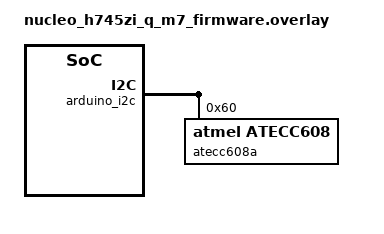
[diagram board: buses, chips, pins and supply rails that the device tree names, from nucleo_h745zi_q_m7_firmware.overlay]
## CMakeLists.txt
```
# @file      CMakeLists.txt
# @brief     mender-stm32h745-zephyr-example CMakeLists file
#
# Copyright joelguittet and mender-mcu-client contributors
#
# Licensed under the Apache License, Version 2.0 (the "License");
# you may not use this file except in compliance with the License.
# You may obtain a copy of the License at
#
#     http://www.apache.org/licenses/LICENSE-2.0
#
# Unless required by applicable law or agreed to in writing, software
# distributed under the License is distributed on an "AS IS" BASIS,
# WITHOUT WARRANTIES OR CONDITIONS OF ANY KIND, either express or implied.
# See the License for the specific language governing permissions and
# limitations under the License.

cmake_minimum_required(VERSION 3.20.0)

# Extra components
list(APPEND ZEPHYR_EXTRA_MODULES
    "${CMAKE_CURRENT_SOURCE_DIR}/components/cJSON"
    "${CMAKE_CURRENT_SOURCE_DIR}/components/msgpack-c"
    "${CMAKE_CURRENT_SOURCE_DIR}/components/cryptoauthlib"
    "${CMAKE_CURRENT_SOURCE_DIR}/components/mender-mcu-client"
)

# Kconfig options
set(KCONFIG_ROOT "${CMAKE_CURRENT_SOURCE_DIR}/Kconfig")

# Device tree overlay file
set(DTC_OVERLAY_FILE "${CMAKE_CURRENT_SOURCE_DIR}/nucleo_h745zi_q_m7_firmware.overlay")

# Declare project
find_package(Zephyr REQUIRED HINTS $ENV{ZEPHYR_BASE})
project(mender-stm32h745-zephyr-example)

# Sources
target_sources(app PRIVATE "src/main.c" "src/mender-storage.c")

# Definitions
target_compile_definitions(app PRIVATE -D_POSIX_C_SOURCE=200809L PROJECT_NAME="mender-stm32h745-zephyr-example")

# Generate Root CA include file
generate_inc_file_for_target(app "src/AmazonRootCA1.cer" "${ZEPHYR_BINARY_DIR}/include/generated/AmazonRootCA1.cer.inc")
```

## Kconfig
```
# @file      Kconfig
# @brief     mender-stm32h745-zephyr-example Kconfig file
#
# Copyright joelguittet and mender-mcu-client contributors
#
# Licensed under the Apache License, Version 2.0 (the "License");
# you may not use this file except in compliance with the License.
# You may obtain a copy of the License at
#
#     http://www.apache.org/licenses/LICENSE-2.0
#
# Unless required by applicable law or agreed to in writing, software
# distributed under the License is distributed on an "AS IS" BASIS,
# WITHOUT WARRANTIES OR CONDITIONS OF ANY KIND, either express or implied.
# See the License for the specific language governing permissions and
# limitations under the License.

mainmenu "Example Configuration"

    config EXAMPLE_AUTHENTICATION_FAILS_MAX_TRIES
        int "Maximum number of retries when Mender client authentification fails"
        default 3
        help
            Defines the number of retries when the Mender client authentification fails before the artifact is considered invalid and the rollback is done.

source "Kconfig.zephyr"
```

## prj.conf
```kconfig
# @file      prj.conf
# @brief     mender-stm32h745-zephyr-example project configuration file
#
# Copyright joelguittet and mender-mcu-client contributors
#
# Licensed under the Apache License, Version 2.0 (the "License");
# you may not use this file except in compliance with the License.
# You may obtain a copy of the License at
#
#     http://www.apache.org/licenses/LICENSE-2.0
#
# Unless required by applicable law or agreed to in writing, software
# distributed under the License is distributed on an "AS IS" BASIS,
# WITHOUT WARRANTIES OR CONDITIONS OF ANY KIND, either express or implied.
# See the License for the specific language governing permissions and
# limitations under the License.

# Mender MCU client
CONFIG_MENDER_MCU_CLIENT=y
CONFIG_MENDER_SERVER_TENANT_TOKEN="<insert your own token here>"
CONFIG_MENDER_CLIENT_ADD_ON_INVENTORY=y
CONFIG_MENDER_CLIENT_ADD_ON_CONFIGURE=y
#CONFIG_MENDER_CLIENT_ADD_ON_TROUBLESHOOT=y
#CONFIG_MENDER_CLIENT_TROUBLESHOOT_SHELL=y
CONFIG_MENDER_PLATFORM_STORAGE_TYPE_WEAK=y
CONFIG_MENDER_PLATFORM_TLS_TYPE_CRYPTOAUTHLIB=y

# Required to get Device Troubleshoot add-on working
#CONFIG_HEAP_MEM_POOL_SIZE=1500
#CONFIG_ZVFS_OPEN_MAX=16
#CONFIG_SHELL_BACKEND_SERIAL=n
#CONFIG_SHELL_AUTOSTART=n
#CONFIG_SHELL_STACK_SIZE=3072

# General
CONFIG_EVENTS=y
CONFIG_MAIN_STACK_SIZE=2048
CONFIG_PICOLIBC=y

# Backup SRAM
CONFIG_STM32_BACKUP_SRAM=y

# Cryptoauthlib
CONFIG_CRYPTOAUTHLIB_HAL_I2C=y
CONFIG_CRYPTOAUTHLIB_ATSHA204A_SUPPORT=n
CONFIG_CRYPTOAUTHLIB_ATSHA206A_SUPPORT=n
CONFIG_CRYPTOAUTHLIB_ATECC108A_SUPPORT=n
CONFIG_CRYPTOAUTHLIB_ATECC508A_SUPPORT=n
CONFIG_CRYPTOAUTHLIB_ATECC608_SUPPORT=y
CONFIG_CRYPTOAUTHLIB_ATECC608A_SUPPORT=y
CONFIG_CRYPTOAUTHLIB_ECC204_SUPPORT=n
CONFIG_CRYPTOAUTHLIB_TA010_SUPPORT=n
CONFIG_CRYPTOAUTHLIB_SHA104_SUPPORT=n
CONFIG_CRYPTOAUTHLIB_SHA105_SUPPORT=n

# Networking
CONFIG_NET_IPV6=n
CONFIG_NET_IPV4=y
CONFIG_NET_DHCPV4=y
CONFIG_NET_SHELL=y
CONFIG_NET_MGMT=y
CONFIG_NET_MGMT_EVENT=y
CONFIG_NET_MGMT_EVENT_STACK_SIZE=2048
CONFIG_NET_SOCKETS_SOCKOPT_TLS=y
CONFIG_NET_SOCKETS_TLS_MAX_CONTEXTS=8
CONFIG_NET_SOCKETS_CONNECT_TIMEOUT=30000
CONFIG_NET_MAX_CONN=16

# DNS
CONFIG_DNS_RESOLVER_ADDITIONAL_BUF_CTR=5
CONFIG_DNS_RESOLVER_ADDITIONAL_QUERIES=2
CONFIG_DNS_RESOLVER_MAX_SERVERS=2
CONFIG_DNS_NUM_CONCUR_QUERIES=5

# mbedTLS
CONFIG_MBEDTLS=y
CONFIG_MBEDTLS_BUILTIN=y
CONFIG_MBEDTLS_ENABLE_HEAP=y
CONFIG_MBEDTLS_HEAP_SIZE=100000
CONFIG_MBEDTLS_CFG_FILE="config-tls-generic.h"
CONFIG_MBEDTLS_ECDH_C=y
CONFIG_MBEDTLS_ECDSA_C=y
CONFIG_MBEDTLS_ECP_C=y
CONFIG_MBEDTLS_ECP_DP_SECP256R1_ENABLED=y
CONFIG_MBEDTLS_GENPRIME_ENABLED=y
CONFIG_MBEDTLS_CIPHER_AES_ENABLED=y
CONFIG_MBEDTLS_CIPHER_CCM_ENABLED=y
CONFIG_MBEDTLS_CIPHER_GCM_ENABLED=y
CONFIG_MBEDTLS_KEY_EXCHANGE_ECDHE_PSK_ENABLED=y
CONFIG_MBEDTLS_KEY_EXCHANGE_ECDHE_RSA_ENABLED=y
CONFIG_MBEDTLS_KEY_EXCHANGE_ECDHE_ECDSA_ENABLED=y
CONFIG_MBEDTLS_KEY_EXCHANGE_RSA_ENABLED=y
CONFIG_MBEDTLS_PEM_CERTIFICATE_FORMAT=y
CONFIG_MBEDTLS_PK_WRITE_C=y
CONFIG_MBEDTLS_ZEPHYR_ENTROPY=y
CONFIG_MBEDTLS_SSL_MAX_CONTENT_LEN=16384
CONFIG_MBEDTLS_SERVER_NAME_INDICATION=y

# MCUboot
CONFIG_MCUBOOT_SIGNATURE_KEY_FILE="bootloader/mcuboot/root-rsa-2048.pem"

# Logging
CONFIG_LOG=y
CONFIG_LOG_MODE_IMMEDIATE=y
```

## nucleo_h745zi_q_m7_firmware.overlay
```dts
/**
 * @file      nucleo_h745zi_q_m7_firmware.overlay
 * @brief     Nucleo STM32H745 firmware overlay
 *
 * Copyright joelguittet and mender-mcu-client contributors
 *
 * Licensed under the Apache License, Version 2.0 (the "License");
 * you may not use this file except in compliance with the License.
 * You may obtain a copy of the License at
 *
 *     http://www.apache.org/licenses/LICENSE-2.0
 *
 * Unless required by applicable law or agreed to in writing, software
 * distributed under the License is distributed on an "AS IS" BASIS,
 * WITHOUT WARRANTIES OR CONDITIONS OF ANY KIND, either express or implied.
 * See the License for the specific language governing permissions and
 * limitations under the License.
 */

#include "nucleo_h745zi_q_m7_flash0.dtsi"

/ {
    chosen {
        zephyr,code-partition = &slot0_partition;
    };
};

&arduino_i2c {
    status = "okay";

    /* ATECC608A */
    atecc608a@60 {
        compatible = "atmel,atecc608";
        reg = <0x60>;
    };
};
		
&backup_sram{
    status = "okay";
};
```

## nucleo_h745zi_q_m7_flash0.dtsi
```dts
/**
 * @file      nucleo_h745zi_q_m7_flash0.dtsi
 * @brief     Nucleo STM32H745 flash0 overlay include
 *
 * Copyright joelguittet and mender-mcu-client contributors
 *
 * Licensed under the Apache License, Version 2.0 (the "License");
 * you may not use this file except in compliance with the License.
 * You may obtain a copy of the License at
 *
 *     http://www.apache.org/licenses/LICENSE-2.0
 *
 * Unless required by applicable law or agreed to in writing, software
 * distributed under the License is distributed on an "AS IS" BASIS,
 * WITHOUT WARRANTIES OR CONDITIONS OF ANY KIND, either express or implied.
 * See the License for the specific language governing permissions and
 * limitations under the License.
 */

&flash0 {
    partitions {
        compatible = "fixed-partitions";
        #address-cells = <1>;
        #size-cells = <1>;
        /* Bootloader slot: 128KB */
        boot_partition: partition@0 {
            label = "mcuboot";
            reg = <0x00000000 DT_SIZE_K(128)>;
            read-only;
        };
        /* Application slot: 384KB */
        slot0_partition: partition@20000 {
            label = "image-0";
            reg = <0x00020000 DT_SIZE_K(384)>;
        };
        /* Update slot: 384KB */
        slot1_partition: partition@80000 {
            label = "image-1";
            reg = <0x00080000 DT_SIZE_K(384)>;
        };
        /* Scratch slot: 128KB */
        scratch_partition: partition@e0000 {
            label = "image-scratch";
            reg = <0x000E0000 DT_SIZE_K(128)>;
        };
    };
};
```

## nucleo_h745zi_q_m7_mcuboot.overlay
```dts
/**
 * @file      nucleo_h745zi_q_m7_mcuboot.overlay
 * @brief     Nucleo STM32H745 mcuboot overlay
 *
 * Copyright joelguittet and mender-mcu-client contributors
 *
 * Licensed under the Apache License, Version 2.0 (the "License");
 * you may not use this file except in compliance with the License.
 * You may obtain a copy of the License at
 *
 *     http://www.apache.org/licenses/LICENSE-2.0
 *
 * Unless required by applicable law or agreed to in writing, software
 * distributed under the License is distributed on an "AS IS" BASIS,
 * WITHOUT WARRANTIES OR CONDITIONS OF ANY KIND, either express or implied.
 * See the License for the specific language governing permissions and
 * limitations under the License.
 */

#include "nucleo_h745zi_q_m7_flash0.dtsi"

/ {
    chosen {
        zephyr,code-partition = &boot_partition;
    };
};
```

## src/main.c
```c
/**
 * @file      main.c
 * @brief     Main entry point
 *
 * Copyright joelguittet and mender-mcu-client contributors
 *
 * Licensed under the Apache License, Version 2.0 (the "License");
 * you may not use this file except in compliance with the License.
 * You may obtain a copy of the License at
 *
 *     http://www.apache.org/licenses/LICENSE-2.0
 *
 * Unless required by applicable law or agreed to in writing, software
 * distributed under the License is distributed on an "AS IS" BASIS,
 * WITHOUT WARRANTIES OR CONDITIONS OF ANY KIND, either express or implied.
 * See the License for the specific language governing permissions and
 * limitations under the License.
 */

#include <app_version.h>
#include <version.h>

#include <zephyr/logging/log.h>
LOG_MODULE_REGISTER(mender_stm32h745_zephyr_example, LOG_LEVEL_INF);

#include <zephyr/kernel.h>
#include <zephyr/net/net_if.h>
#include <zephyr/net/net_mgmt.h>
#include <zephyr/sys/reboot.h>

/*
 * Amazon Root CA 1 certificate, retrieved from https://www.amazontrust.com/repository in DER format.
 * It is converted to include file in application CMakeLists.txt.
 */
#if defined(CONFIG_NET_SOCKETS_SOCKOPT_TLS)
#include <zephyr/net/tls_credentials.h>
#if defined(CONFIG_TLS_CREDENTIAL_FILENAMES)
static const unsigned char ca_certificate[] = "AmazonRootCA1.cer";
#else
static const unsigned char ca_certificate[] = {
#include "AmazonRootCA1.cer.inc"
};
#endif
#endif

#ifdef CONFIG_MENDER_PLATFORM_TLS_TYPE_CRYPTOAUTHLIB
#include <cryptoauthlib.h>
#endif /* CONFIG_MENDER_PLATFORM_TLS_TYPE_CRYPTOAUTHLIB */

#include "mender-client.h"
#include "mender-configure.h"
#include "mender-flash.h"
#include "mender-inventory.h"
#include "mender-shell.h"
#include "mender-troubleshoot.h"

/**
 * @brief Mender client events
 */
static K_EVENT_DEFINE(mender_client_events);
#define MENDER_CLIENT_EVENT_NETWORK_UP (1 << 0)
#define MENDER_CLIENT_EVENT_RESTART    (1 << 1)

/**
 * @brief Network management callback
 */
static struct net_mgmt_event_callback mgmt_cb;

/**
 * @brief print DHCPv4 address information
 * @param iface Interface
 * @param if_addr Interface address
 * @param user_data user data (not used)
 */
static void
print_dhcpv4_addr(struct net_if *iface, struct net_if_addr *if_addr, void *user_data) {

    char           hr_addr[NET_IPV4_ADDR_LEN];
    struct in_addr netmask;

    /* Check address type */
    if (NET_ADDR_DHCP != if_addr->addr_type) {
        return;
    }

    LOG_INF("IPv4 address: %s", net_addr_ntop(AF_INET, &if_addr->address.in_addr, hr_addr, NET_IPV4_ADDR_LEN));
    LOG_INF("Lease time: %u seconds", iface->config.dhcpv4.lease_time);
    netmask = net_if_ipv4_get_netmask_by_addr(iface, &if_addr->address.in_addr);
    LOG_INF("Subnet: %s", net_addr_ntop(AF_INET, &netmask, hr_addr, NET_IPV4_ADDR_LEN));
    LOG_INF("Router: %s", net_addr_ntop(AF_INET, &iface->config.ip.ipv4->gw, hr_addr, NET_IPV4_ADDR_LEN));
}

/**
 * @brief Network event handler
 * @param cb Network management callback
 * @param mgmt_event Event
 * @param iface Interface
 */
static void
net_event_handler(struct net_mgmt_event_callback *cb, uint32_t mgmt_event, struct net_if *iface) {

    /* Check event */
    if (NET_EVENT_IPV4_ADDR_ADD != mgmt_event) {
        return;
    }

    /* Print interface information */
    net_if_ipv4_addr_foreach(iface, print_dhcpv4_addr, NULL);

    /* Indicate the network is available */
    k_event_post(&mender_client_events, MENDER_CLIENT_EVENT_NETWORK_UP);
}

/**
 * @brief Network connnect callback
 * @return MENDER_OK if network is connected following the request, error code otherwise
 */
static mender_err_t
network_connect_cb(void) {

    LOG_INF("Mender client connect network");

    /* This callback can be used to configure network connection */
    /* Note that the application can connect the network before if required */
    /* This callback only indicates the mender-client requests network access now */
    /* Nothing to do in this example application just return network is available */
    return MENDER_OK;
}

/**
 * @brief Network release callback
 * @return MENDER_OK if network is released following the request, error code otherwise
 */
static mender_err_t
network_release_cb(void) {

    LOG_INF("Mender client released network");

    /* This callback can be used to release network connection */
    /* Note that the application can keep network activated if required */
    /* This callback only indicates the mender-client doesn't request network access now */
    /* Nothing to do in this example application just return network is released */
    return MENDER_OK;
}

/**
 * @brief Authentication success callback
 * @return MENDER_OK if application is marked valid and success deployment status should be reported to the server, error code otherwise
 */
static mender_err_t
authentication_success_cb(void) {

    mender_err_t ret;

    LOG_INF("Mender client authenticated");

#ifdef CONFIG_MENDER_CLIENT_ADD_ON_TROUBLESHOOT
    /* Activate troubleshoot add-on (deactivated by default) */
    if (MENDER_OK != (ret = mender_troubleshoot_activate())) {
        LOG_ERR("Unable to activate troubleshoot add-on");
        return ret;
    }
#endif /* CONFIG_MENDER_CLIENT_ADD_ON_TROUBLESHOOT */

    /* Validate the image if it is still pending */
    /* Note it is possible to do multiple diagnosic tests before validating the image */
    /* In this example, authentication success with the mender-server is enough */
    if (MENDER_OK != (ret = mender_flash_confirm_image())) {
        LOG_ERR("Unable to validate the image");
        return ret;
    }

    return ret;
}

/**
 * @brief Authentication failure callback
 * @return MENDER_OK if nothing to do, error code if the mender client should restart the application
 */
static mender_err_t
authentication_failure_cb(void) {

    static int tries = 0;

    /* Check if confirmation of the image is still pending */
    if (true == mender_flash_is_image_confirmed()) {
        LOG_INF("Mender client authentication failed");
        return MENDER_OK;
    }

    /* Increment number of failures */
    tries++;
    LOG_ERR("Mender client authentication failed (%d/%d)", tries, CONFIG_EXAMPLE_AUTHENTICATION_FAILS_MAX_TRIES);

    /* Restart the application after several authentication failures with the mender-server */
    /* The image has not been confirmed and the bootloader will now rollback to the previous working image */
    /* Note it is possible to customize this depending of the wanted behavior */
    return (tries >= CONFIG_EXAMPLE_AUTHENTICATION_FAILS_MAX_TRIES) ? MENDER_FAIL : MENDER_OK;
}

/**
 * @brief Deployment status callback
 * @param status Deployment status value
 * @param desc Deployment status description as string
 * @return MENDER_OK if the function succeeds, error code otherwise
 */
static mender_err_t
deployment_status_cb(mender_deployment_status_t status, char *desc) {

    /* We can do something else if required */
    LOG_INF("Deployment status is '%s'", desc);

    return MENDER_OK;
}

/**
 * @brief Restart callback
 * @return MENDER_OK if the function succeeds, error code otherwise
 */
static mender_err_t
restart_cb(void) {

    /* Application is responsible to shutdown and restart the system now */
    k_event_post(&mender_client_events, MENDER_CLIENT_EVENT_RESTART);

    return MENDER_OK;
}

#ifdef CONFIG_MENDER_CLIENT_ADD_ON_CONFIGURE
#ifndef CONFIG_MENDER_CLIENT_CONFIGURE_STORAGE

/**
 * @brief Device configuration updated
 * @param configuration Device configuration
 * @return MENDER_OK if the function succeeds, error code otherwise
 */
static mender_err_t
config_updated_cb(mender_keystore_t *configuration) {

    /* Application can use the new device configuration now */
    /* In this example, we just print the content of the configuration received from the Mender server */
    if (NULL != configuration) {
        size_t index = 0;
        LOG_INF("Device configuration received from the server");
        while ((NULL != configuration[index].name) && (NULL != configuration[index].value)) {
            LOG_INF("Key=%s, value=%s", configuration[index].name, configuration[index].value);
            index++;
        }
    }

    return MENDER_OK;
}

#endif /* CONFIG_MENDER_CLIENT_CONFIGURE_STORAGE */
#endif /* CONFIG_MENDER_CLIENT_ADD_ON_CONFIGURE */

/**
 * @brief Main function
 * @return Always returns 0
 */
int
main(void) {

    /* Initialize network */
    struct net_if *iface = net_if_get_default();
    assert(NULL != iface);
    net_mgmt_init_event_callback(&mgmt_cb, net_event_handler, NET_EVENT_IPV4_ADDR_ADD);
    net_mgmt_add_event_callback(&mgmt_cb);
    net_dhcpv4_start(iface);

    /* Wait until the network interface is operational */
    k_event_wait_all(&mender_client_events, MENDER_CLIENT_EVENT_NETWORK_UP, false, K_FOREVER);

#if defined(CONFIG_NET_SOCKETS_SOCKOPT_TLS)
    /* Initialize certificate */
    tls_credential_add(CONFIG_MENDER_NET_CA_CERTIFICATE_TAG, TLS_CREDENTIAL_CA_CERTIFICATE, ca_certificate, sizeof(ca_certificate));
#endif

#ifdef CONFIG_MENDER_PLATFORM_TLS_TYPE_CRYPTOAUTHLIB
    /* Initialize cryptoauthlib */
    cfg_ateccx08a_i2c_default.cfg_data = DEVICE_DT_NAME(DT_NODELABEL(i2c1));
    assert(ATCA_SUCCESS == atcab_init(&cfg_ateccx08a_i2c_default));
#endif /* CONFIG_MENDER_PLATFORM_TLS_TYPE_CRYPTOAUTHLIB */

    /* Read base MAC address of the device */
    char                 mac_address[18];
    struct net_linkaddr *linkaddr = net_if_get_link_addr(iface);
    assert(NULL != linkaddr);
    snprintf(mac_address,
             sizeof(mac_address),
             "%02x:%02x:%02x:%02x:%02x:%02x",
             linkaddr->addr[0],
             linkaddr->addr[1],
             linkaddr->addr[2],
             linkaddr->addr[3],
             linkaddr->addr[4],
             linkaddr->addr[5]);
    LOG_INF("MAC address of the device '%s'", mac_address);

    /* Retrieve running version of the device */
    LOG_INF("Running project '%s' version '%s'", PROJECT_NAME, APP_VERSION_STRING);

    /* Compute artifact name */
    char artifact_name[128];
    snprintf(artifact_name, sizeof(artifact_name), "%s-v%s", PROJECT_NAME, APP_VERSION_STRING);

    /* Retrieve device type */
    char *device_type = PROJECT_NAME;

    /* Initialize mender-client */
    mender_keystore_t         identity[]              = { { .name = "mac", .value = mac_address }, { .name = NULL, .value = NULL } };
    mender_client_config_t    mender_client_config    = { .identity                     = identity,
                                                          .artifact_name                = artifact_name,
                                                          .device_type                  = device_type,
                                                          .host                         = NULL,
                                                          .tenant_token                 = NULL,
                                                          .authentication_poll_interval = 0,
                                                          .update_poll_interval         = 0,
                                                          .recommissioning              = false };
    mender_client_callbacks_t mender_client_callbacks = { .network_connect        = network_connect_cb,
                                                          .network_release        = network_release_cb,
                                                          .authentication_success = authentication_success_cb,
                                                          .authentication_failure = authentication_failure_cb,
                                                          .deployment_status      = deployment_status_cb,
                                                          .restart                = restart_cb };
    assert(MENDER_OK == mender_client_init(&mender_client_config, &mender_client_callbacks));
    LOG_INF("Mender client initialized");

    /* Initialize mender add-ons */
#ifdef CONFIG_MENDER_CLIENT_ADD_ON_CONFIGURE
    mender_configure_config_t    mender_configure_config    = { .refresh_interval = 0 };
    mender_configure_callbacks_t mender_configure_callbacks = {
#ifndef CONFIG_MENDER_CLIENT_CONFIGURE_STORAGE
        .config_updated = config_updated_cb,
#endif /* CONFIG_MENDER_CLIENT_CONFIGURE_STORAGE */
    };
    assert(MENDER_OK
           == mender_client_register_addon(
               (mender_addon_instance_t *)&mender_configure_addon_instance, (void *)&mender_configure_config, (void *)&mender_configure_callbacks));
    LOG_INF("Mender configure add-on registered");
#endif /* CONFIG_MENDER_CLIENT_ADD_ON_CONFIGURE */
#ifdef CONFIG_MENDER_CLIENT_ADD_ON_INVENTORY
    mender_inventory_config_t mender_inventory_config = { .refresh_interval = 0 };
    assert(MENDER_OK == mender_client_register_addon((mender_addon_instance_t *)&mender_inventory_addon_instance, (void *)&mender_inventory_config, NULL));
    LOG_INF("Mender inventory add-on registered");
#endif /* CONFIG_MENDER_CLIENT_ADD_ON_INVENTORY */
#ifdef CONFIG_MENDER_CLIENT_ADD_ON_TROUBLESHOOT
    mender_troubleshoot_config_t    mender_troubleshoot_config    = { .healthcheck_interval = 0 };
    mender_troubleshoot_callbacks_t mender_troubleshoot_callbacks = {
#ifdef CONFIG_MENDER_CLIENT_TROUBLESHOOT_FILE_TRANSFER
        .file_transfer = { .stat = NULL, .open = NULL, .read = NULL, .write = NULL, .close = NULL },
#ifdef CONFIG_MENDER_CLIENT_TROUBLESHOOT_PORT_FORWARDING
        .port_forwarding = { .connect = NULL, .send = NULL, .close = NULL },
#endif /* CONFIG_MENDER_CLIENT_TROUBLESHOOT_PORT_FORWARDING */
#endif /* CONFIG_MENDER_CLIENT_TROUBLESHOOT_FILE_TRANSFER */
#ifdef CONFIG_MENDER_CLIENT_TROUBLESHOOT_SHELL
        .shell = { .open = mender_shell_open, .resize = mender_shell_resize, .write = mender_shell_write, .close = mender_shell_close }
#endif /* CONFIG_MENDER_CLIENT_TROUBLESHOOT_SHELL */
    };
    assert(MENDER_OK
           == mender_client_register_addon(
               (mender_addon_instance_t *)&mender_troubleshoot_addon_instance, (void *)&mender_troubleshoot_config, (void *)&mender_troubleshoot_callbacks));
    LOG_INF("Mender troubleshoot add-on registered");
#endif /* CONFIG_MENDER_CLIENT_ADD_ON_TROUBLESHOOT */

#ifdef CONFIG_MENDER_CLIENT_ADD_ON_CONFIGURE
    /* Get mender configuration (this is just an example to illustrate the API) */
    mender_keystore_t *configuration;
    if (MENDER_OK != mender_configure_get(&configuration)) {
        LOG_ERR("Unable to get mender configuration");
    } else if (NULL != configuration) {
        size_t index = 0;
        LOG_INF("Device configuration retrieved");
        while ((NULL != configuration[index].name) && (NULL != configuration[index].value)) {
            LOG_INF("Key=%s, value=%s", configuration[index].name, configuration[index].value);
            index++;
        }
        mender_utils_keystore_delete(configuration);
    }
#endif /* CONFIG_MENDER_CLIENT_ADD_ON_CONFIGURE */

#ifdef CONFIG_MENDER_CLIENT_ADD_ON_INVENTORY
    /* Set mender inventory (this is just an example to illustrate the API) */
    mender_keystore_t inventory[] = { { .name = "zephyr-rtos", .value = KERNEL_VERSION_STRING },
                                      { .name = "mender-mcu-client", .value = mender_client_version() },
                                      { .name = "latitude", .value = "45.8325" },
                                      { .name = "longitude", .value = "6.864722" },
                                      { .name = NULL, .value = NULL } };
    if (MENDER_OK != mender_inventory_set(inventory)) {
        LOG_ERR("Unable to set mender inventory");
    }
#endif /* CONFIG_MENDER_CLIENT_ADD_ON_INVENTORY */

    /* Finally activate mender client */
    if (MENDER_OK != mender_client_activate()) {
        LOG_ERR("Unable to activate mender-client");
        goto RELEASE;
    }

    /* Wait for mender-mcu-client events */
    k_event_wait_all(&mender_client_events, MENDER_CLIENT_EVENT_RESTART, false, K_FOREVER);

RELEASE:

    /* Deactivate and release mender-client */
    mender_client_deactivate();
    mender_client_exit();

    /* Restart */
    LOG_INF("Restarting system");
    sys_reboot(SYS_REBOOT_WARM);

    return 0;
}
```

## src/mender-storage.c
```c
/**
 * @file      mender-storage.c
 * @brief     Mender storage interface for project specific SRAM platform
 *
 * Copyright joelguittet and mender-mcu-client contributors
 *
 * Licensed under the Apache License, Version 2.0 (the "License");
 * you may not use this file except in compliance with the License.
 * You may obtain a copy of the License at
 *
 *     http://www.apache.org/licenses/LICENSE-2.0
 *
 * Unless required by applicable law or agreed to in writing, software
 * distributed under the License is distributed on an "AS IS" BASIS,
 * WITHOUT WARRANTIES OR CONDITIONS OF ANY KIND, either express or implied.
 * See the License for the specific language governing permissions and
 * limitations under the License.
 */

#include <zephyr/device.h>
#include <zephyr/kernel.h>
#include "mender-log.h"
#include "mender-storage.h"

/**
 * @brief Backup SRAM device
 */
#if DT_HAS_COMPAT_STATUS_OKAY(st_stm32_backup_sram)
#define BACKUP_DEV_COMPAT st_stm32_backup_sram
#endif

/**
 * @brief Deployment data length
 */
#define MENDER_STORAGE_DEPLOYMENT_DATA_LENGTH (192)

/**
 * @brief Device configuration length
 */
#define MENDER_STORAGE_DEVICE_CONFIG_LENGTH (512)

/**
 * @brief Deployment data in SRAM
 */
__stm32_backup_sram_section char mender_storage_deployment_data[MENDER_STORAGE_DEPLOYMENT_DATA_LENGTH];

/**
 * @brief Device configuration in SRAM
 */
__stm32_backup_sram_section char mender_storage_device_config[MENDER_STORAGE_DEVICE_CONFIG_LENGTH];

mender_err_t
mender_storage_init(void) {

    /* Check if backup SRAM device is ready */
    if (!device_is_ready(DEVICE_DT_GET_ONE(BACKUP_DEV_COMPAT))) {
        mender_log_error("Backup SRAM device is not ready");
        return MENDER_FAIL;
    }

    return MENDER_OK;
}

mender_err_t
mender_storage_set_deployment_data(char *deployment_data) {

    assert(NULL != deployment_data);

    /* Retrieve length of the deployment data */
    size_t deployment_data_length = strlen(deployment_data);
    if (deployment_data_length >= MENDER_STORAGE_DEPLOYMENT_DATA_LENGTH) {
        mender_log_error("Unable to set deployment data");
        return MENDER_FAIL;
    }

    /* Copy deployment data */
    memcpy(mender_storage_deployment_data, deployment_data, deployment_data_length);
    memset(&mender_storage_deployment_data[deployment_data_length], '\0', MENDER_STORAGE_DEPLOYMENT_DATA_LENGTH - deployment_data_length);

#if __DCACHE_PRESENT
    /* Force cleaning the cache */
    SCB_CleanDCache_by_Addr(mender_storage_deployment_data, MENDER_STORAGE_DEPLOYMENT_DATA_LENGTH);
#endif

    return MENDER_OK;
}

mender_err_t
mender_storage_get_deployment_data(char **deployment_data) {

    assert(NULL != deployment_data);

    /* Retrieve length of the deployment data */
    if (0 == strlen(mender_storage_deployment_data)) {
        mender_log_info("Deployment data not available");
        return MENDER_NOT_FOUND;
    }

    /* Read deployment data */
    if (NULL == (*deployment_data = strdup(mender_storage_deployment_data))) {
        mender_log_error("Unable to read deployment data");
        return MENDER_FAIL;
    }

    return MENDER_OK;
}

mender_err_t
mender_storage_delete_deployment_data(void) {

    /* Reset deployment data */
    memset(mender_storage_deployment_data, 0, MENDER_STORAGE_DEPLOYMENT_DATA_LENGTH);

    return MENDER_OK;
}

#ifdef CONFIG_MENDER_CLIENT_ADD_ON_CONFIGURE
#ifdef CONFIG_MENDER_CLIENT_CONFIGURE_STORAGE

mender_err_t
mender_storage_set_device_config(char *device_config) {

    assert(NULL != device_config);

    /* Retrieve length of the device configuration */
    size_t device_config_length = strlen(device_config);
    if (device_config_length >= MENDER_STORAGE_DEVICE_CONFIG_LENGTH) {
        mender_log_error("Unable to set device configuration");
        return MENDER_FAIL;
    }

    /* Copy device configuration */
    memcpy(mender_storage_device_config, device_config, device_config_length);
    memset(&mender_storage_device_config[device_config_length], '\0', MENDER_STORAGE_DEVICE_CONFIG_LENGTH - device_config_length);

#if __DCACHE_PRESENT
    /* Force cleaning the cache */
    SCB_CleanDCache_by_Addr(mender_storage_device_config, MENDER_STORAGE_DEVICE_CONFIG_LENGTH);
#endif

    return MENDER_OK;
}

mender_err_t
mender_storage_get_device_config(char **device_config) {

    assert(NULL != device_config);

    /* Retrieve length of the device configuration */
    if (0 == strlen(mender_storage_device_config)) {
        mender_log_info("Device configuration not available");
        return MENDER_NOT_FOUND;
    }

    /* Read device configuration */
    if (NULL == (*device_config = strdup(mender_storage_device_config))) {
        mender_log_error("Unable to read device configuration");
        return MENDER_FAIL;
    }

    return MENDER_OK;
}

mender_err_t
mender_storage_delete_device_config(void) {

    /* Reset device configuration */
    memset(mender_storage_device_config, 0, MENDER_STORAGE_DEVICE_CONFIG_LENGTH);

    return MENDER_OK;
}

#endif /* CONFIG_MENDER_CLIENT_CONFIGURE_STORAGE */
#endif /* CONFIG_MENDER_CLIENT_ADD_ON_CONFIGURE */
```
